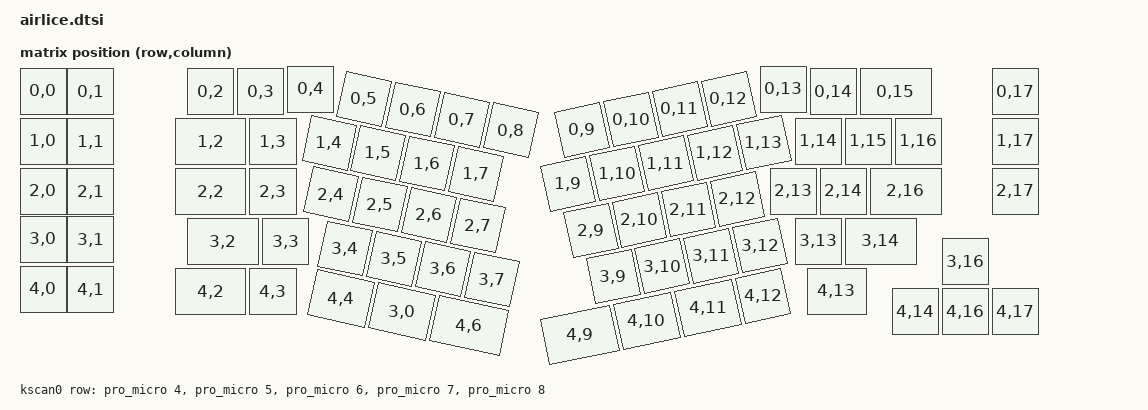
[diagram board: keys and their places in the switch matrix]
#include <physical_layouts.dtsi>
#include <dt-bindings/zmk/matrix_transform.h>

/ {
    chosen {
        zmk,physical-layout = &physical_layout0;
        zmk,kscan = &kscan0;
    };

    kscan0: kscan0 {
        compatible = "zmk,kscan-gpio-matrix";
        diode-direction = "col2row";
        wakeup-source;

        row-gpios
            = <&pro_micro 4 (GPIO_ACTIVE_HIGH | GPIO_PULL_DOWN)>
            , <&pro_micro 5 (GPIO_ACTIVE_HIGH | GPIO_PULL_DOWN)>
            , <&pro_micro 6 (GPIO_ACTIVE_HIGH | GPIO_PULL_DOWN)>
            , <&pro_micro 7 (GPIO_ACTIVE_HIGH | GPIO_PULL_DOWN)>
            , <&pro_micro 8 (GPIO_ACTIVE_HIGH | GPIO_PULL_DOWN)>
            ;

    };
    default_transform: keymap_transform_0 {
        compatible = "zmk,matrix-transform";
        columns = <18>;
        rows = <5>;
        map = <
RC(0,0) RC(0,1) RC(0,2) RC(0,3) RC(0,4) RC(0,5) RC(0,6) RC(0,7) RC(0,8) RC(0,9) RC(0,10) RC(0,11) RC(0,12) RC(0,13) RC(0,14) RC(0,15)          RC(0,17)
RC(1,0) RC(1,1) RC(1,2) RC(1,3) RC(1,4) RC(1,5) RC(1,6) RC(1,7)         RC(1,9) RC(1,10) RC(1,11) RC(1,12) RC(1,13) RC(1,14) RC(1,15) RC(1,16) RC(1,17)
RC(2,0) RC(2,1) RC(2,2) RC(2,3) RC(2,4) RC(2,5) RC(2,6) RC(2,7)         RC(2,9) RC(2,10) RC(2,11) RC(2,12) RC(2,13) RC(2,14)          RC(2,16) RC(2,17)
RC(3,0) RC(3,1) RC(3,2) RC(3,3) RC(3,4) RC(3,5) RC(3,6) RC(3,7)         RC(3,9) RC(3,10) RC(3,11) RC(3,12) RC(3,13) RC(3,14)          RC(3,16)
RC(4,0) RC(4,1) RC(4,2) RC(4,3) RC(4,4) RC(3,0) RC(4,6)                 RC(4,9) RC(4,10) RC(4,11) RC(4,12) RC(4,13) RC(4,14)          RC(4,16) RC(4,17) 
        >;
    };



    physical_layout0: physical_layout_0 {
        compatible = "zmk,physical-layout";
        display-name = "LAYOUT";

        kscan = <&kscan0>;
        transform = <&default_transform>;

        keys  //                     w   h    x    y     rot    rx    ry
            = <&key_physical_attrs 100 100    0    4       0     0     0>
            , <&key_physical_attrs 100 100   95    5       0     0     0>
            , <&key_physical_attrs 100 100  335    5       0     0     0>
            , <&key_physical_attrs 100 100  435    5       0     0     0>
            , <&key_physical_attrs 100 100  535    0       0     0     0>
            , <&key_physical_attrs 100 100  625   55    1200   850   170>
            , <&key_physical_attrs 100 100  725   55    1200   850   170>
            , <&key_physical_attrs 100 100  825   55    1200   850   170>
            , <&key_physical_attrs 100 100  925   55    1200   850   170>
            , <&key_physical_attrs 100 100 1075  140 (-1200)   850   145>
            , <&key_physical_attrs 100 100 1175  140 (-1200)   850   145>
            , <&key_physical_attrs 100 100 1275  140 (-1200)   850   145>
            , <&key_physical_attrs 100 100 1375  140 (-1200)   850   145>
            , <&key_physical_attrs 100 100 1480    0       0     0     0>
            , <&key_physical_attrs 100 100 1580    5       0     0     0>
            , <&key_physical_attrs 150 100 1680    5       0     0     0>
            , <&key_physical_attrs 100 100 1945    5       0     0     0>
            , <&key_physical_attrs 100 100    0  104       0     0     0>
            , <&key_physical_attrs 100 100   95  105       0     0     0>
            , <&key_physical_attrs 150 100  310  105       0     0     0>
            , <&key_physical_attrs 100 100  460  105       0     0     0>
            , <&key_physical_attrs 100 100  575  155    1200   850   170>
            , <&key_physical_attrs 100 100  675  155    1200   850   170>
            , <&key_physical_attrs 100 100  775  155    1200   850   170>
            , <&key_physical_attrs 100 100  875  155    1200   850   170>
            , <&key_physical_attrs 100 100 1025  240 (-1200)   850   145>
            , <&key_physical_attrs 100 100 1125  240 (-1200)   850   145>
            , <&key_physical_attrs 100 100 1225  240 (-1200)   850   145>
            , <&key_physical_attrs 100 100 1325  240 (-1200)   850   145>
            , <&key_physical_attrs 100 100 1425  240 (-1200)   850   145>
            , <&key_physical_attrs 100 100 1550  104       0     0     0>
            , <&key_physical_attrs 100 100 1650  104       0     0     0>
            , <&key_physical_attrs 100 100 1750  104       0     0     0>
            , <&key_physical_attrs 100 100 1945  104       0     0     0>
            , <&key_physical_attrs 100 100    0  204       0     0     0>
            , <&key_physical_attrs 100 100   95  205       0     0     0>
            , <&key_physical_attrs 150 100  310  205       0     0     0>
            , <&key_physical_attrs 100 100  460  205       0     0     0>
            , <&key_physical_attrs 100 100  600  255    1200   850   170>
            , <&key_physical_attrs 100 100  700  255    1200   850   170>
            , <&key_physical_attrs 100 100  800  255    1200   850   170>
            , <&key_physical_attrs 100 100  900  255    1200   850   170>
            , <&key_physical_attrs 100 100 1050  340 (-1200)   850   145>
            , <&key_physical_attrs 100 100 1150  340 (-1200)   850   145>
            , <&key_physical_attrs 100 100 1250  340 (-1200)   850   145>
            , <&key_physical_attrs 100 100 1350  340 (-1200)   850   145>
            , <&key_physical_attrs 100 100 1500  204       0     0     0>
            , <&key_physical_attrs 100 100 1600  204       0     0     0>
            , <&key_physical_attrs 150 100 1700  204       0     0     0>
            , <&key_physical_attrs 100 100 1945  204       0     0     0>
            , <&key_physical_attrs 100 100    0  300       0     0     0>
            , <&key_physical_attrs 100 100   95  301       0     0     0>
            , <&key_physical_attrs 150 100  335  305       0     0     0>
            , <&key_physical_attrs 100 100  485  305       0     0     0>
            , <&key_physical_attrs 100 100  650  355    1200   850   170>
            , <&key_physical_attrs 100 100  750  355    1200   850   170>
            , <&key_physical_attrs 100 100  850  355    1200   850   170>
            , <&key_physical_attrs 100 100  950  355    1200   850   170>
            , <&key_physical_attrs 100 100 1075  440 (-1200)   850   145>
            , <&key_physical_attrs 100 100 1175  440 (-1200)   850   145>
            , <&key_physical_attrs 100 100 1275  440 (-1200)   850   145>
            , <&key_physical_attrs 100 100 1375  440 (-1200)   850   145>
            , <&key_physical_attrs 100 100 1550  304       0     0     0>
            , <&key_physical_attrs 150 100 1650  304       0     0     0>
            , <&key_physical_attrs 100 100 1845  345       0     0     0>
            , <&key_physical_attrs 100 100    0  400       0     0     0>
            , <&key_physical_attrs 100 100   95  401       0     0     0>
            , <&key_physical_attrs 150 100  310  405       0     0     0>
            , <&key_physical_attrs 100 100  460  405       0     0     0>
            , <&key_physical_attrs 125 100  650  455    1200   850   170>
            , <&key_physical_attrs 125 100  775  455    1200   850   170>
            , <&key_physical_attrs 150 100  900  455    1200   850   170>
            , <&key_physical_attrs 150 100  960  540 (-1200)   850   145>
            , <&key_physical_attrs 125 100 1110  540 (-1200)   850   145>
            , <&key_physical_attrs 125 100 1235  540 (-1200)   850   145>
            , <&key_physical_attrs 100 100 1360  540 (-1200)   850   145>
            , <&key_physical_attrs 125 100 1575  404       0     0     0>
            , <&key_physical_attrs 100 100 1745  445       0     0     0>
            , <&key_physical_attrs 100 100 1845  445       0     0     0>
            , <&key_physical_attrs 100 100 1945  445       0     0     0>
            ;
    };
};
